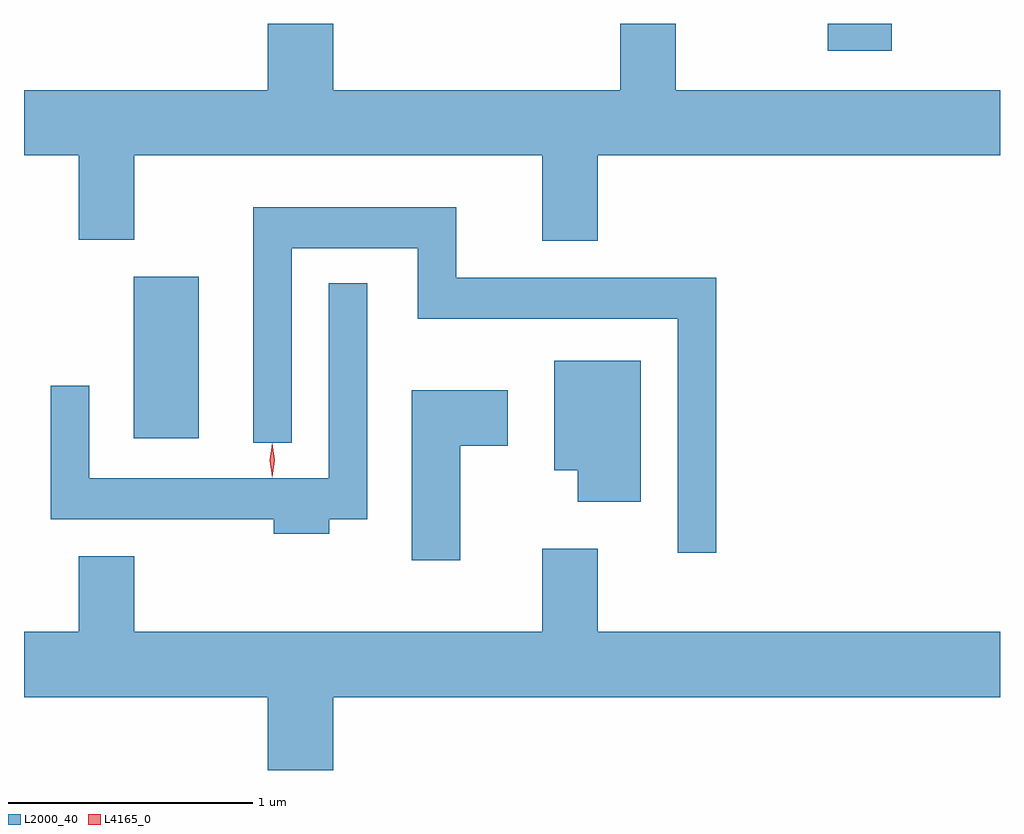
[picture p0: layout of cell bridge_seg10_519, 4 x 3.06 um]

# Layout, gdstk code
import gdstk
lib = gdstk.Library(unit=1e-6, precision=1e-09)
def R(c, l, rs):  # rectangles x0, y0, x1, y1
    for r in rs: c.add(gdstk.rectangle(r[:2], r[2:], *l))
def P(c, l, *ps):  # polygons
    for p in ps: c.add(gdstk.Polygon(p, *l))
L2000_40 = (2000, 40)
L4165_0 = (4165, 0)

bridge_seg10_519 = lib.new_cell('bridge_seg10_519')
R(bridge_seg10_519, L2000_40, [(793.946,2174.916,794.214,2175.579), (796.791,2176.506,797.054,2176.616)])
P(bridge_seg10_519, L2000_40, [(795.849,2176.076),(797.497,2176.076),(797.497,2176.344),(796.169,2176.344),(796.169,2176.616),(795.941,2176.616),(795.941,2176.344),(794.764,2176.344),(794.764,2176.616),(794.496,2176.616),(794.496,2176.344),(793.497,2176.344),(793.497,2176.076),(793.721,2176.076),(793.721,2175.731),(793.949,2175.731),(793.949,2176.076),(795.621,2176.076),(795.621,2175.726),(795.849,2175.726)],
  [(796.334,2175.574),(795.269,2175.574),(795.269,2175.864),(794.436,2175.864),(794.436,2174.898),(794.594,2174.898),(794.594,2175.696),(795.111,2175.696),(795.111,2175.406),(796.176,2175.406),(796.176,2174.448),(796.334,2174.448)],
  [(794.749,2174.586),(794.904,2174.586),(794.904,2175.553),(794.746,2175.553),(794.746,2174.754),(793.764,2174.754),(793.764,2175.133),(793.606,2175.133),(793.606,2174.586),(794.521,2174.586),(794.521,2174.526),(794.749,2174.526)],
  [(796.024,2175.234),(795.671,2175.234),(795.671,2174.786),(795.766,2174.786),(795.766,2174.656),(796.024,2174.656)],
  [(795.284,2174.886),(795.479,2174.886),(795.479,2175.114),(795.086,2175.114),(795.086,2174.416),(795.284,2174.416)],
  [(794.764,2173.856),(797.497,2173.856),(797.497,2174.124),(795.849,2174.124),(795.849,2174.464),(795.621,2174.464),(795.621,2174.124),(793.949,2174.124),(793.949,2174.434),(793.721,2174.434),(793.721,2174.124),(793.497,2174.124),(793.497,2173.856),(794.496,2173.856),(794.496,2173.556),(794.764,2173.556)])
P(bridge_seg10_519, L4165_0, [(794.514,2174.757),(794.505,2174.826),(794.514,2174.896),(794.515,2174.896),(794.515,2174.896),(794.525,2174.826),(794.515,2174.757),(794.515,2174.757)],
  [(794.515,2174.759),(794.514,2174.76),(794.505,2174.826),(794.514,2174.892),(794.515,2174.893),(794.515,2174.892),(794.525,2174.826),(794.515,2174.76)])

lib.write_gds('bridge_seg10_519.gds')
